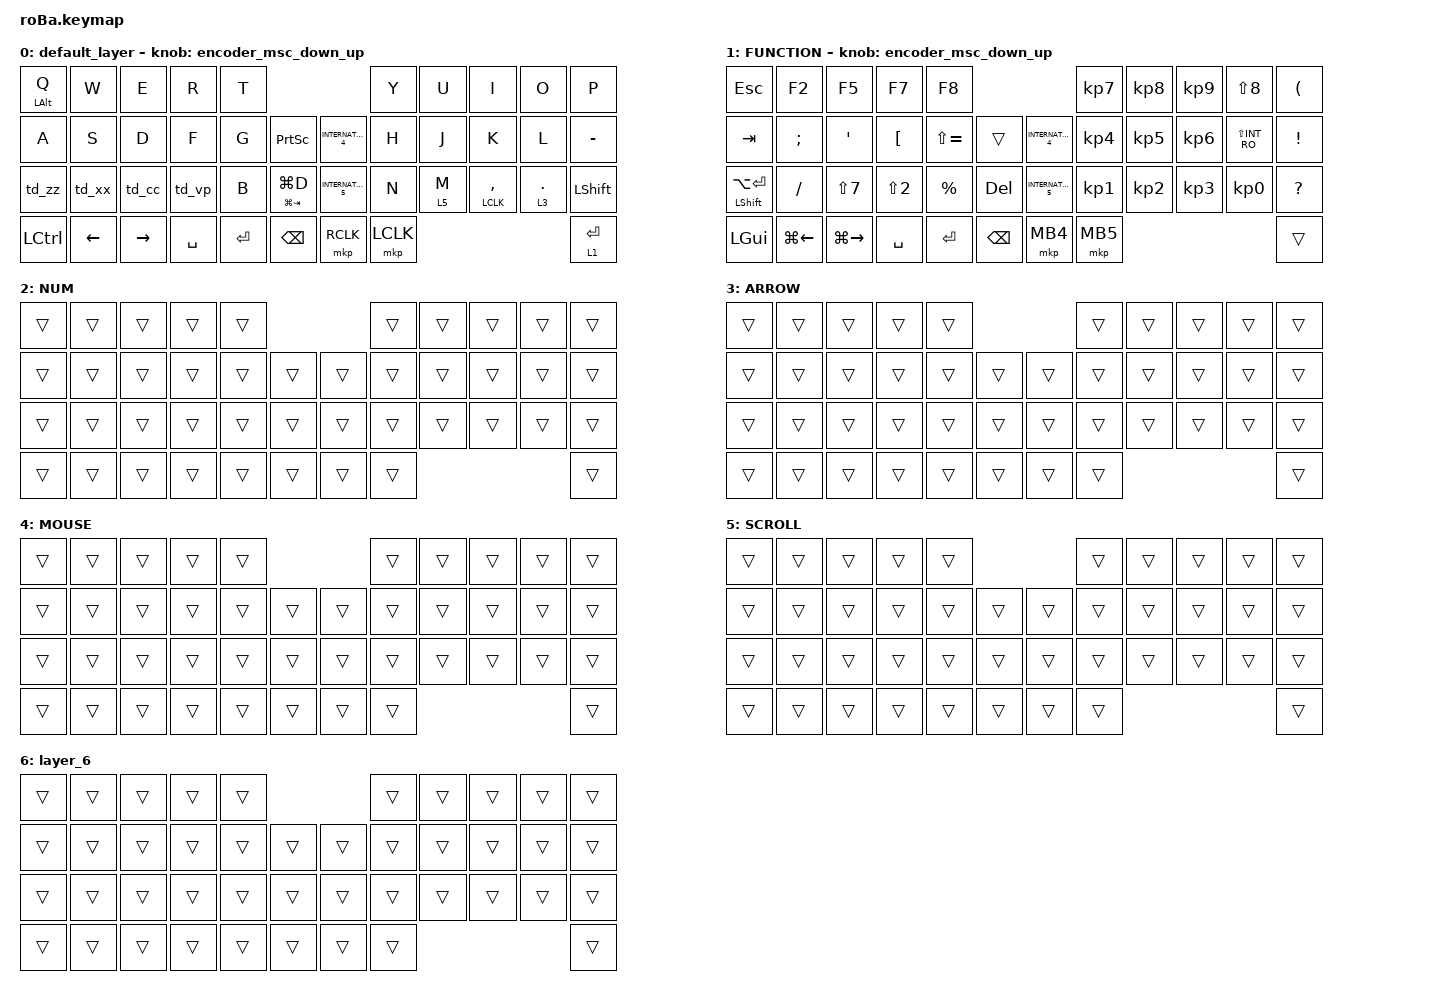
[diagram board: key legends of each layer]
#include <behaviors.dtsi>
#include <dt-bindings/zmk/keys.h>
#include <dt-bindings/zmk/pointing.h>

#define ZMK_POINTING_DEFAULT_SCRL_VAL 70

&mt {
    flavor = "balanced";
    quick-tap-ms = <0>;
};

&trackball {
    // automouse-layer = <4>;

    scroll-layers = <5>;

    arrows {
        layers = <3>;
        bindings =
            <&kp RIGHT_ARROW>,
            <&kp LEFT_ARROW>,
            <&kp UP_ARROW>,
            <&kp DOWN_ARROW>;

        tick = <40>;
        wait-ms = <25>;
        tap-ms = <25>;
    };
};

/ {
    combos {
        compatible = "zmk,combos";

        up {
            bindings = <&kp UP_ARROW>;
            key-positions = <2 3>;
        };

        down {
            bindings = <&kp DOWN_ARROW>;
            key-positions = <12 13>;
        };

        close {
            bindings = <&kp LC(W)>;
            key-positions = <35 36>;
        };
    };

    behaviors {
        comma_lclick: comma_lclick {
            compatible = "zmk,behavior-hold-tap";
            label = "COMMA_LCLICK";
            #binding-cells = <2>;
            tapping-term-ms = <200>;
            quick-tap-ms = <0>;
            flavor = "tap-preferred";
            bindings = <&mkp>, <&kp>;
        };

        encoder_msc_down_up: encoder_msc_down_up {
            compatible = "zmk,behavior-sensor-rotate";
            label = "ENCODER_MSC_DOWN_UP";
            #sensor-binding-cells = <0>;
            bindings = <&msc SCRL_DOWN>, <&msc SCRL_UP>;

            tap-ms = <30>;
        };

        td_cc: tap_dance_cc {
            compatible = "zmk,behavior-tap-dance";
            label = "TAP_DANCE_CC";
            #binding-cells = <0>;
            tapping-term-ms = <300>;
            bindings = <&kp C>, <&kp LC(C)>;
        };

        td_vp: tap_dance_vp {
            compatible = "zmk,behavior-tap-dance";
            label = "TAP_DANCE_VP";
            #binding-cells = <0>;
            tapping-term-ms = <300>;
            bindings = <&kp V>, <&kp LC(V)>;
        };

        td_zz: tap_dance_zz {
            compatible = "zmk,behavior-tap-dance";
            label = "TAP_DANCE_ZZ";
            #binding-cells = <0>;
            tapping-term-ms = <300>;
            bindings = <&kp Z>, <&kp LC(Z)>;
        };

        td_xx: tap_dance_xx {
            compatible = "zmk,behavior-tap-dance";
            label = "TAP_DANCE_XX";
            #binding-cells = <0>;
            tapping-term-ms = <300>;
            bindings = <&kp X>, <&kp LC(X)>;
        };

        mo1_enter: mo1_enter {
            compatible = "zmk,behavior-hold-tap";
            label = "MO1_ENTER";
            #binding-cells = <2>;
            tapping-term-ms = <200>;
            flavor = "hold-preferred";
            bindings = <&mo>, <&kp>;
        };
    };

    keymap {
        compatible = "zmk,keymap";

        default_layer {
            bindings = <
&mt LEFT_ALT Q  &kp W           &kp E            &kp R      &kp T                                                  &kp Y      &kp U    &kp I                     &kp O         &kp P
&kp A           &kp S           &kp D            &kp F      &kp G      &kp PRINTSCREEN        &kp INTERNATIONAL_4  &kp H      &kp J    &kp K                     &kp L         &kp MINUS
&td_zz          &td_xx          &td_cc           &td_vp     &kp B      &mt LG(TAB) LG(D)      &kp INTERNATIONAL_5  &kp N      &lt 5 M  &comma_lclick LCLK COMMA  &lt 3 PERIOD  &kp LEFT_SHIFT
&kp LCTRL       &kp LEFT_ARROW  &kp RIGHT_ARROW  &kp SPACE  &kp ENTER  &kp BACKSPACE          &mkp RCLK            &mkp LCLK                                                   &mo1_enter 1 ENTER
            >;

            sensor-bindings = <&encoder_msc_down_up>;
        };

        FUNCTION {
            bindings = <
&kp ESCAPE                &kp F2              &kp F5               &kp F7            &kp F8                                                 &kp KP_NUMBER_7  &kp KP_N8        &kp KP_N9        &kp LS(N8)      &kp LEFT_PARENTHESIS
&kp TAB                   &kp SEMICOLON       &kp SQT              &kp LEFT_BRACKET  &kp LS(EQUAL)  &trans             &kp INTERNATIONAL_4  &kp KP_NUMBER_4  &kp KP_NUMBER_5  &kp KP_NUMBER_6  &kp LS(INT_RO)  &kp EXCLAMATION
&mt LEFT_SHIFT LA(ENTER)  &kp SLASH           &kp LS(N7)           &kp LS(NUMBER_2)  &kp PERCENT    &kp DEL            &kp INTERNATIONAL_5  &kp KP_NUMBER_1  &kp KP_NUMBER_2  &kp KP_NUMBER_3  &kp KP_N0       &kp QUESTION
&kp LEFT_GUI              &kp LG(LEFT_ARROW)  &kp LG(RIGHT_ARROW)  &kp SPACE         &kp ENTER      &kp BACKSPACE      &mkp MB4             &mkp MB5                                                           &trans
            >;

            sensor-bindings = <&encoder_msc_down_up>;
        };

        NUM {
            bindings = <
&trans  &trans  &trans  &trans  &trans                      &trans  &trans  &trans  &trans  &trans
&trans  &trans  &trans  &trans  &trans  &trans      &trans  &trans  &trans  &trans  &trans  &trans
&trans  &trans  &trans  &trans  &trans  &trans      &trans  &trans  &trans  &trans  &trans  &trans
&trans  &trans  &trans  &trans  &trans  &trans      &trans  &trans                          &trans
            >;
        };

        ARROW {
            bindings = <
&trans  &trans  &trans  &trans  &trans                      &trans  &trans  &trans  &trans  &trans
&trans  &trans  &trans  &trans  &trans  &trans      &trans  &trans  &trans  &trans  &trans  &trans
&trans  &trans  &trans  &trans  &trans  &trans      &trans  &trans  &trans  &trans  &trans  &trans
&trans  &trans  &trans  &trans  &trans  &trans      &trans  &trans                          &trans
            >;
        };

        MOUSE {
            bindings = <
&trans  &trans  &trans  &trans  &trans                      &trans  &trans  &trans  &trans  &trans
&trans  &trans  &trans  &trans  &trans  &trans      &trans  &trans  &trans  &trans  &trans  &trans
&trans  &trans  &trans  &trans  &trans  &trans      &trans  &trans  &trans  &trans  &trans  &trans
&trans  &trans  &trans  &trans  &trans  &trans      &trans  &trans                          &trans
            >;
        };

        SCROLL {
            bindings = <
&trans  &trans  &trans  &trans  &trans                      &trans  &trans  &trans  &trans  &trans
&trans  &trans  &trans  &trans  &trans  &trans      &trans  &trans  &trans  &trans  &trans  &trans
&trans  &trans  &trans  &trans  &trans  &trans      &trans  &trans  &trans  &trans  &trans  &trans
&trans  &trans  &trans  &trans  &trans  &trans      &trans  &trans                          &trans
            >;
        };

        layer_6 {
            bindings = <
&trans  &trans  &trans  &trans  &trans                      &trans  &trans  &trans  &trans  &trans
&trans  &trans  &trans  &trans  &trans  &trans      &trans  &trans  &trans  &trans  &trans  &trans
&trans  &trans  &trans  &trans  &trans  &trans      &trans  &trans  &trans  &trans  &trans  &trans
&trans  &trans  &trans  &trans  &trans  &trans      &trans  &trans                          &trans
            >;
        };
    };
};
